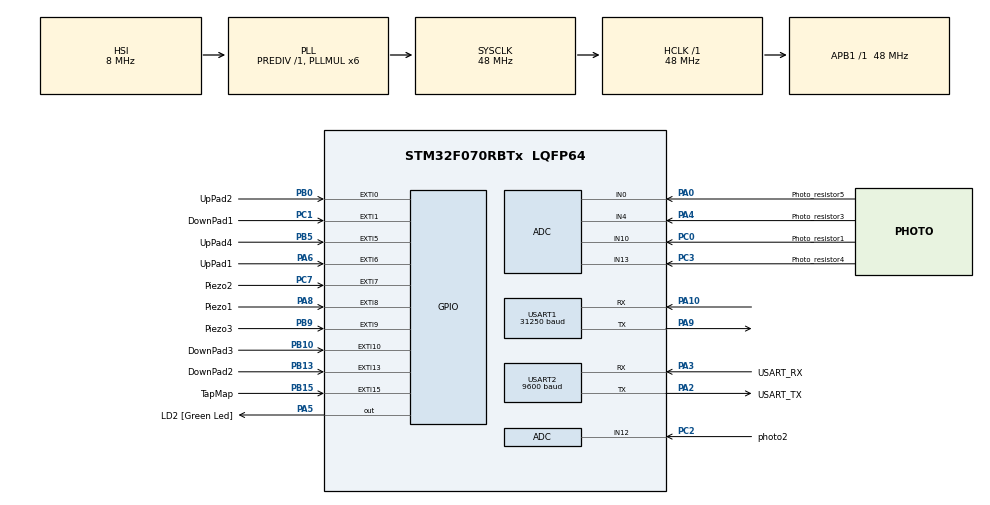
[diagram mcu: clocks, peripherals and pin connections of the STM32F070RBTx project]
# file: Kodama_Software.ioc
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ADC.ContinuousConvMode=DISABLE
ADC.DMAContinuousRequests=DISABLE
ADC.DiscontinuousConvMode=ENABLE
ADC.EOCSelection=ADC_EOC_SINGLE_CONV
ADC.SamplingTime=ADC_SAMPLETIME_239CYCLES_5
Dma.ADC.0.Direction=DMA_PERIPH_TO_MEMORY
Dma.ADC.0.Instance=DMA1_Channel1
Dma.ADC.0.MemDataAlignment=DMA_MDATAALIGN_WORD
Dma.ADC.0.MemInc=DMA_MINC_ENABLE
Dma.ADC.0.Mode=DMA_CIRCULAR
Dma.ADC.0.PeriphDataAlignment=DMA_PDATAALIGN_WORD
Dma.ADC.0.PeriphInc=DMA_PINC_DISABLE
Dma.ADC.0.Priority=DMA_PRIORITY_LOW
Dma.Request0=ADC
Mcu.Family=STM32F0
Mcu.Name=STM32F070RBTx
Mcu.Package=LQFP64
NVIC.DMA1_Channel1_IRQn=true\:0\:0\:false\:false\:true\:false\:true
NVIC.EXTI0_1_IRQn=true\:0\:0\:false\:false\:true\:true\:true
NVIC.EXTI4_15_IRQn=true\:1\:0\:true\:false\:true\:true\:true
NVIC.FLASH_IRQn=true\:0\:0\:false\:false\:true\:true\:true
NVIC.RCC_IRQn=true\:0\:0\:false\:false\:true\:true\:false
NVIC.TIM3_IRQn=true\:0\:0\:false\:false\:true\:true\:true
NVIC.USART2_IRQn=true\:0\:0\:false\:false\:true\:true\:true
PA0.GPIO_Label=Photo_resistor5
PA0.Mode=IN0
PA0.Signal=ADC_IN0
PA10.Mode=Asynchronous
PA10.Signal=USART1_RX
PA13.GPIO_Label=TMS
PA13.Mode=Serial_Wire
PA13.Signal=SYS_SWDIO
PA14.GPIO_Label=TCK
PA14.Mode=Serial_Wire
PA14.Signal=SYS_SWCLK
PA2.GPIO_Label=USART_TX
PA2.GPIO_ModeDefaultPP=GPIO_MODE_AF_PP
PA2.GPIO_PuPd=GPIO_NOPULL
PA2.Mode=Asynchronous
PA2.Signal=USART2_TX
PA3.GPIO_Label=USART_RX
PA3.GPIO_PuPd=GPIO_PULLDOWN
PA3.Mode=Asynchronous
PA3.Signal=USART2_RX
PA4.GPIO_Label=Photo_resistor3
PA4.Mode=IN4
PA4.Signal=ADC_IN4
PA5.GPIO_Label=LD2 [Green Led]
PA5.Signal=GPIO_Output
PA6.GPIO_Label=UpPad1
PA6.GPIO_ModeDefaultEXTI=GPIO_MODE_IT_RISING_FALLING
PA6.Signal=GPXTI6
PA8.GPIO_Label=Piezo1
PA8.GPIO_ModeDefaultEXTI=GPIO_MODE_IT_RISING_FALLING
PA8.Signal=GPXTI8
PA9.Mode=Asynchronous
PA9.Signal=USART1_TX
PB0.GPIO_Label=UpPad2
PB0.GPIO_ModeDefaultEXTI=GPIO_MODE_IT_RISING_FALLING
PB0.Signal=GPXTI0
PB10.GPIO_Label=DownPad3
PB10.GPIO_ModeDefaultEXTI=GPIO_MODE_IT_RISING_FALLING
PB10.Signal=GPXTI10
PB13.GPIO_Label=DownPad2
PB13.GPIO_ModeDefaultEXTI=GPIO_MODE_IT_RISING_FALLING
PB13.Signal=GPXTI13
PB15.GPIO_Label=TapMap
PB15.GPIO_ModeDefaultEXTI=GPIO_MODE_IT_RISING_FALLING
PB15.Signal=GPXTI15
PB5.GPIO_Label=UpPad4
PB5.Signal=GPXTI5
PB9.GPIO_Label=Piezo3
PB9.GPIO_ModeDefaultEXTI=GPIO_MODE_IT_RISING_FALLING
PB9.Signal=GPXTI9
PC0.GPIO_Label=Photo_resistor1
PC0.Mode=IN10
PC0.Signal=ADC_IN10
PC1.GPIO_Label=DownPad1
PC1.GPIO_ModeDefaultEXTI=GPIO_MODE_IT_RISING_FALLING
PC1.Signal=GPXTI1
PC14-OSC32_IN.GPIO_Label=RCC_OSC32_IN
PC14-OSC32_IN.Mode=LSE-External-Oscillator
PC14-OSC32_IN.Signal=RCC_OSC32_IN
PC15-OSC32_OUT.GPIO_Label=RCC_OSC32_OUT
PC15-OSC32_OUT.Mode=LSE-External-Oscillator
PC15-OSC32_OUT.Signal=RCC_OSC32_OUT
PC2.GPIO_Label=photo2
PC2.Mode=IN12
PC2.Signal=ADC_IN12
PC3.GPIO_Label=Photo_resistor4
PC3.Mode=IN13
PC3.Signal=ADC_IN13
PC7.GPIO_Label=Piezo2
PC7.GPIO_ModeDefaultEXTI=GPIO_MODE_IT_RISING_FALLING
PC7.Signal=GPXTI7
PF0-OSC_IN.GPIO_Label=RCC_OSC_IN
PF0-OSC_IN.Mode=HSE-External-Clock-Source
PF0-OSC_IN.Signal=RCC_OSC_IN
PF1-OSC_OUT.GPIO_Label=RCC_OSC_OUT
PF1-OSC_OUT.Signal=RCC_OSC_OUT
ProjectManager.HeapSize=0x200
ProjectManager.StackSize=0x400
ProjectManager.TargetToolchain=STM32CubeIDE
RCC.AHBFreq_Value=48000000
RCC.APB1Freq_Value=48000000
RCC.APB1TimFreq_Value=48000000
RCC.HCLKFreq_Value=48000000
RCC.PLLMUL=RCC_PLL_MUL6
RCC.SYSCLKFreq_VALUE=48000000
RCC.SYSCLKSource=RCC_SYSCLKSOURCE_PLLCLK
TIM3.Period=65535
TIM3.Prescaler=100
USART1.BaudRate=31250
USART1.VirtualMode-Asynchronous=VM_ASYNC
USART2.BaudRate=9600
USART2.Mode=MODE_TX
USART2.VirtualMode-Asynchronous=VM_ASYNC
USART2.WordLength=WORDLENGTH_8B
VP_TIM3_VS_ClockSourceINT.Mode=Internal
board=NUCLEO-F070RB

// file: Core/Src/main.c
/* USER CODE BEGIN Header */
/**
  ******************************************************************************
  * @file           : main.c
  * @brief          : Main program body
  ******************************************************************************
  * @attention
  *
  * <h2><center>&copy; Copyright (c) 2021 STMicroelectronics.
  * All rights reserved.</center></h2>
  *
  * This software component is licensed by ST under BSD 3-Clause license,
  * the "License"; You may not use this file except in compliance with the
  * License. You may obtain a copy of the License at:
  *                        opensource.org/licenses/BSD-3-Clause
  *
  ******************************************************************************
  */
/* USER CODE END Header */
#include "main.h"

/* USER CODE BEGIN Includes */
#include <stdbool.h>
/* USER CODE END Includes */

ADC_HandleTypeDef hadc;
DMA_HandleTypeDef hdma_adc;

TIM_HandleTypeDef htim3;

UART_HandleTypeDef huart1;
UART_HandleTypeDef huart2;

/* USER CODE BEGIN PV */

uint8_t aTxBuffer[3];
uint8_t CC1Value = 60;
uint8_t nbTest = 0;
uint8_t CC2Value = 60;
uint8_t CC3Value = 60;
uint8_t CC4Value = 60;
uint8_t VideoSelector = 0;
uint32_t value[5];
bool UpPad1_state = false;
bool UpPad2_state = false;
bool UpPad3_state = false;
bool UpPad4_state = false;
bool DownPad1_state = false;
bool DownPad2_state = false;
bool DownPad3_state = false;
bool DownPad4_state = false;
bool Piezo1_state = false;
bool Piezo2_state = false;
bool Piezo3_state = false;
bool Note3_state = false;
bool Play1 = false;
bool Play2 = false;
bool Play3 = false;
bool Play4 = false;
bool Play5 = false;
bool initPassed = false;
int lum1average = 0;
int lum2average = 0;
int lum3average = 0;
int lum4average = 0;
int lum5average = 0;
int Lum1threshold = 0;
int Lum2threshold = 0;
int Lum3threshold = 0;
int Lum4threshold = 0;
int Lum5threshold = 0;

/* USER CODE END PV */

void SystemClock_Config(void);
static void MX_GPIO_Init(void);
static void MX_USART2_UART_Init(void);
static void MX_USART1_UART_Init(void);
static void MX_ADC_Init(void);
static void MX_DMA_Init(void);
static void MX_TIM3_Init(void);
/* USER CODE BEGIN PFP */
void EXTI4_15_IRQHandler_Config(void);
void GET_ADC_Value(void);
void ADC_Test(void);
void ADC_Select_CH11 (void);
void ADC_Select_CH10 (void);
void ADC_Select_CH4 (void);
void ADC_Select_CH12 (void);
void ADC_Select_CH13 (void);
void CallibrationPhoto(ADC_HandleTypeDef* hadc);
void PhotoProcess(ADC_HandleTypeDef* hadc);

/* USER CODE END PFP */

int main(void)
{

  /* MCU Configuration--------------------------------------------------------*/

  /* Reset of all peripherals, Initializes the Flash interface and the Systick. */
  HAL_Init();

  /* Configure the system clock */
  SystemClock_Config();

  /* Initialize all configured peripherals */
  MX_GPIO_Init();
  MX_USART2_UART_Init();
  MX_USART1_UART_Init();
  MX_ADC_Init();
  MX_DMA_Init();
  MX_TIM3_Init();
  /* USER CODE BEGIN 2 */
  HAL_Delay(1000);
  HAL_ADCEx_Calibration_Start(&hadc);
  HAL_TIM_Base_Start_IT(&htim3);
  //HAL_ADC_Start_DMA(&hadc, value, 3);
  //srv_iqs5xx_init();

  /* USER CODE END 2 */

  /* Infinite loop */
  while (1)
  {

    /* USER CODE BEGIN 3 */
//	  HAL_Delay(1000);
//	  srv_midi_internal_sendNote(0x3C, 0x00, 0x5A,huart1);
//	  HAL_Delay(200);
//	  srv_midi_internal_sendNote(0x3C, 0x00, 0x00,huart1);

  }
  /* USER CODE END 3 */
}

void SystemClock_Config(void)
{
  RCC_OscInitTypeDef RCC_OscInitStruct = {0};
  RCC_ClkInitTypeDef RCC_ClkInitStruct = {0};
  RCC_PeriphCLKInitTypeDef PeriphClkInit = {0};

  /** Initializes the RCC Oscillators according to the specified parameters
  * in the RCC_OscInitTypeDef structure.
  */
  RCC_OscInitStruct.OscillatorType = RCC_OSCILLATORTYPE_HSI|RCC_OSCILLATORTYPE_HSI14;
  RCC_OscInitStruct.HSIState = RCC_HSI_ON;
  RCC_OscInitStruct.HSI14State = RCC_HSI14_ON;
  RCC_OscInitStruct.HSICalibrationValue = RCC_HSICALIBRATION_DEFAULT;
  RCC_OscInitStruct.HSI14CalibrationValue = 16;
  RCC_OscInitStruct.PLL.PLLState = RCC_PLL_ON;
  RCC_OscInitStruct.PLL.PLLSource = RCC_PLLSOURCE_HSI;
  RCC_OscInitStruct.PLL.PLLMUL = RCC_PLL_MUL6;
  RCC_OscInitStruct.PLL.PREDIV = RCC_PREDIV_DIV1;
  if (HAL_RCC_OscConfig(&RCC_OscInitStruct) != HAL_OK)
  {
    Error_Handler();
  }
  /** Initializes the CPU, AHB and APB buses clocks
  */
  RCC_ClkInitStruct.ClockType = RCC_CLOCKTYPE_HCLK|RCC_CLOCKTYPE_SYSCLK
                              |RCC_CLOCKTYPE_PCLK1;
  RCC_ClkInitStruct.SYSCLKSource = RCC_SYSCLKSOURCE_PLLCLK;
  RCC_ClkInitStruct.AHBCLKDivider = RCC_SYSCLK_DIV1;
  RCC_ClkInitStruct.APB1CLKDivider = RCC_HCLK_DIV1;

  if (HAL_RCC_ClockConfig(&RCC_ClkInitStruct, FLASH_LATENCY_1) != HAL_OK)
  {
    Error_Handler();
  }
  PeriphClkInit.PeriphClockSelection = RCC_PERIPHCLK_USART1;
  PeriphClkInit.Usart1ClockSelection = RCC_USART1CLKSOURCE_PCLK1;
  if (HAL_RCCEx_PeriphCLKConfig(&PeriphClkInit) != HAL_OK)
  {
    Error_Handler();
  }
}

static void MX_ADC_Init(void)
{

  ADC_ChannelConfTypeDef sConfig = {0};

  /** Configure the global features of the ADC (Clock, Resolution, Data Alignment and number of conversion)
  */
  hadc.Instance = ADC1;
  hadc.Init.ClockPrescaler = ADC_CLOCK_ASYNC_DIV1;
  hadc.Init.Resolution = ADC_RESOLUTION_12B;
  hadc.Init.DataAlign = ADC_DATAALIGN_RIGHT;
  hadc.Init.ScanConvMode = ADC_SCAN_DIRECTION_FORWARD;
  hadc.Init.EOCSelection = ADC_EOC_SINGLE_CONV;
  hadc.Init.LowPowerAutoWait = DISABLE;
  hadc.Init.LowPowerAutoPowerOff = DISABLE;
  hadc.Init.ContinuousConvMode = DISABLE;
  hadc.Init.DiscontinuousConvMode = ENABLE;
  hadc.Init.ExternalTrigConv = ADC_SOFTWARE_START;
  hadc.Init.ExternalTrigConvEdge = ADC_EXTERNALTRIGCONVEDGE_NONE;
  hadc.Init.DMAContinuousRequests = DISABLE;
  hadc.Init.Overrun = ADC_OVR_DATA_PRESERVED;
  if (HAL_ADC_Init(&hadc) != HAL_OK)
  {
    Error_Handler();
  }
  /** Configure for the selected ADC regular channel to be converted.
  */
  sConfig.Channel = ADC_CHANNEL_0;
  sConfig.Rank = ADC_RANK_CHANNEL_NUMBER;
  sConfig.SamplingTime = ADC_SAMPLETIME_239CYCLES_5;
  if (HAL_ADC_ConfigChannel(&hadc, &sConfig) != HAL_OK)
  {
    Error_Handler();
  }
  /** Configure for the selected ADC regular channel to be converted.
  */
  sConfig.Channel = ADC_CHANNEL_4;
  if (HAL_ADC_ConfigChannel(&hadc, &sConfig) != HAL_OK)
  {
    Error_Handler();
  }
  /** Configure for the selected ADC regular channel to be converted.
  */
  sConfig.Channel = ADC_CHANNEL_10;
  if (HAL_ADC_ConfigChannel(&hadc, &sConfig) != HAL_OK)
  {
    Error_Handler();
  }
  /** Configure for the selected ADC regular channel to be converted.
  */
  sConfig.Channel = ADC_CHANNEL_12;
  if (HAL_ADC_ConfigChannel(&hadc, &sConfig) != HAL_OK)
  {
    Error_Handler();
  }
  /** Configure for the selected ADC regular channel to be converted.
  */
  sConfig.Channel = ADC_CHANNEL_13;
  if (HAL_ADC_ConfigChannel(&hadc, &sConfig) != HAL_OK)
  {
    Error_Handler();
  }
  /* USER CODE BEGIN ADC_Init 2 */
//
//  /** Configure for the selected ADC regular channel to be converted.
//    */
//    sConfig.Channel = ADC_CHANNEL_10;
//    sConfig.Rank = 2;
//    sConfig.SamplingTime = ADC_SAMPLETIME_1CYCLE_5;
//    if (HAL_ADC_ConfigChannel(&hadc, &sConfig) != HAL_OK)
//    {
//      Error_Handler();
//    }
//	/** Configure for the selected ADC regular channel to be converted.
//	  */
//  sConfig.Channel = ADC_CHANNEL_4;
//  sConfig.Rank = 1;
//  sConfig.SamplingTime = ADC_SAMPLETIME_1CYCLE_5;
//  if (HAL_ADC_ConfigChannel(&hadc, &sConfig) != HAL_OK)
//  {
//	Error_Handler();
//  }
//    /** Configure for the selected ADC regular channel to be converted.
//    */
//    sConfig.Channel = ADC_CHANNEL_11;
//    sConfig.Rank = 2;
//    sConfig.SamplingTime = ADC_SAMPLETIME_1CYCLE_5;
//    if (HAL_ADC_ConfigChannel(&hadc, &sConfig) != HAL_OK)
//    {
//      Error_Handler();
//    }
//    /** Configure for the selected ADC regular channel to be converted.
//    */
//    sConfig.Channel = ADC_CHANNEL_4;
//    sConfig.Rank = 3;
//    sConfig.SamplingTime = ADC_SAMPLETIME_1CYCLE_5;
//    if (HAL_ADC_ConfigChannel(&hadc, &sConfig) != HAL_OK)
//    {
//      Error_Handler();
//    }
//    /** Configure for the selected ADC regular channel to be converted.
//        */
//	sConfig.Channel = ADC_CHANNEL_0;
//	sConfig.Rank = 4;
//	sConfig.SamplingTime = ADC_SAMPLETIME_1CYCLE_5;
//	if (HAL_ADC_ConfigChannel(&hadc, &sConfig) != HAL_OK)
//	{
//	  Error_Handler();
//	}
    /** Configure for the selected ADC regular channel to be converted.
    */
//    sConfig.Channel = ADC_CHANNEL_13;
//    sConfig.Rank = 4;
//    sConfig.SamplingTime = ADC_SAMPLETIME_1CYCLE_5;
//    if (HAL_ADC_ConfigChannel(&hadc, &sConfig) != HAL_OK)
//    {
//      Error_Handler();
//    }

  /* USER CODE END ADC_Init 2 */

}

static void MX_TIM3_Init(void)
{

  TIM_ClockConfigTypeDef sClockSourceConfig = {0};
  TIM_MasterConfigTypeDef sMasterConfig = {0};

  htim3.Instance = TIM3;
  htim3.Init.Prescaler = 100;
  htim3.Init.CounterMode = TIM_COUNTERMODE_UP;
  htim3.Init.Period = 65535;
  htim3.Init.ClockDivision = TIM_CLOCKDIVISION_DIV1;
  htim3.Init.AutoReloadPreload = TIM_AUTORELOAD_PRELOAD_DISABLE;
  if (HAL_TIM_Base_Init(&htim3) != HAL_OK)
  {
    Error_Handler();
  }
  sClockSourceConfig.ClockSource = TIM_CLOCKSOURCE_INTERNAL;
  if (HAL_TIM_ConfigClockSource(&htim3, &sClockSourceConfig) != HAL_OK)
  {
    Error_Handler();
  }
  sMasterConfig.MasterOutputTrigger = TIM_TRGO_RESET;
  sMasterConfig.MasterSlaveMode = TIM_MASTERSLAVEMODE_DISABLE;
  if (HAL_TIMEx_MasterConfigSynchronization(&htim3, &sMasterConfig) != HAL_OK)
  {
    Error_Handler();
  }

}

static void MX_USART1_UART_Init(void)
{

  huart1.Instance = USART1;
  huart1.Init.BaudRate = 31250;
  huart1.Init.WordLength = UART_WORDLENGTH_8B;
  huart1.Init.StopBits = UART_STOPBITS_1;
  huart1.Init.Parity = UART_PARITY_NONE;
  huart1.Init.Mode = UART_MODE_TX_RX;
  huart1.Init.HwFlowCtl = UART_HWCONTROL_NONE;
  huart1.Init.OverSampling = UART_OVERSAMPLING_16;
  huart1.Init.OneBitSampling = UART_ONE_BIT_SAMPLE_DISABLE;
  huart1.AdvancedInit.AdvFeatureInit = UART_ADVFEATURE_NO_INIT;
  if (HAL_UART_Init(&huart1) != HAL_OK)
  {
    Error_Handler();
  }

}

static void MX_USART2_UART_Init(void)
{

  huart2.Instance = USART2;
  huart2.Init.BaudRate = 9600;
  huart2.Init.WordLength = UART_WORDLENGTH_8B;
  huart2.Init.StopBits = UART_STOPBITS_1;
  huart2.Init.Parity = UART_PARITY_NONE;
  huart2.Init.Mode = UART_MODE_TX;
  huart2.Init.HwFlowCtl = UART_HWCONTROL_NONE;
  huart2.Init.OverSampling = UART_OVERSAMPLING_16;
  huart2.Init.OneBitSampling = UART_ONE_BIT_SAMPLE_DISABLE;
  huart2.AdvancedInit.AdvFeatureInit = UART_ADVFEATURE_NO_INIT;
  if (HAL_UART_Init(&huart2) != HAL_OK)
  {
    Error_Handler();
  }

}

static void MX_DMA_Init(void)
{

  /* DMA controller clock enable */
  __HAL_RCC_DMA1_CLK_ENABLE();

  /* DMA interrupt init */
  /* DMA1_Channel1_IRQn interrupt configuration */
  HAL_NVIC_SetPriority(DMA1_Channel1_IRQn, 0, 0);
  HAL_NVIC_EnableIRQ(DMA1_Channel1_IRQn);

}

static void MX_GPIO_Init(void)
{
  GPIO_InitTypeDef GPIO_InitStruct = {0};

  /* GPIO Ports Clock Enable */
  __HAL_RCC_GPIOC_CLK_ENABLE();
  __HAL_RCC_GPIOF_CLK_ENABLE();
  __HAL_RCC_GPIOA_CLK_ENABLE();
  __HAL_RCC_GPIOB_CLK_ENABLE();

  /*Configure GPIO pin Output Level */
  HAL_GPIO_WritePin(LD2_GPIO_Port, LD2_Pin, GPIO_PIN_RESET);

  /*Configure GPIO pins : DownPad1_Pin Piezo2_Pin */
  GPIO_InitStruct.Pin = DownPad1_Pin|Piezo2_Pin;
  GPIO_InitStruct.Mode = GPIO_MODE_IT_RISING_FALLING;
  GPIO_InitStruct.Pull = GPIO_NOPULL;
  HAL_GPIO_Init(GPIOC, &GPIO_InitStruct);

  /*Configure GPIO pin : LD2_Pin */
  GPIO_InitStruct.Pin = LD2_Pin;
  GPIO_InitStruct.Mode = GPIO_MODE_OUTPUT_PP;
  GPIO_InitStruct.Pull = GPIO_NOPULL;
  GPIO_InitStruct.Speed = GPIO_SPEED_FREQ_LOW;
  HAL_GPIO_Init(LD2_GPIO_Port, &GPIO_InitStruct);

  /*Configure GPIO pins : UpPad1_Pin Piezo1_Pin */
  GPIO_InitStruct.Pin = UpPad1_Pin|Piezo1_Pin;
  GPIO_InitStruct.Mode = GPIO_MODE_IT_RISING_FALLING;
  GPIO_InitStruct.Pull = GPIO_NOPULL;
  HAL_GPIO_Init(GPIOA, &GPIO_InitStruct);

  /*Configure GPIO pins : UpPad2_Pin DownPad3_Pin DownPad2_Pin TapMap_Pin
                           Piezo3_Pin */
  GPIO_InitStruct.Pin = UpPad2_Pin|DownPad3_Pin|DownPad2_Pin|TapMap_Pin
                          |Piezo3_Pin;
  GPIO_InitStruct.Mode = GPIO_MODE_IT_RISING_FALLING;
  GPIO_InitStruct.Pull = GPIO_NOPULL;
  HAL_GPIO_Init(GPIOB, &GPIO_InitStruct);

  /*Configure GPIO pin : UpPad4_Pin */
  GPIO_InitStruct.Pin = UpPad4_Pin;
  GPIO_InitStruct.Mode = GPIO_MODE_IT_RISING;
  GPIO_InitStruct.Pull = GPIO_NOPULL;
  HAL_GPIO_Init(UpPad4_GPIO_Port, &GPIO_InitStruct);

  /* EXTI interrupt init*/
  HAL_NVIC_SetPriority(EXTI0_1_IRQn, 0, 0);
  HAL_NVIC_EnableIRQ(EXTI0_1_IRQn);

  HAL_NVIC_SetPriority(EXTI4_15_IRQn, 1, 0);
  HAL_NVIC_EnableIRQ(EXTI4_15_IRQn);

}

/* USER CODE BEGIN 4 */

void HAL_GPIO_EXTI_Callback(uint16_t GPIO_Pin)
{
	switch (GPIO_Pin) {

		case UpPad1_Pin:
			if (HAL_GPIO_ReadPin(UpPad1_GPIO_Port, UpPad1_Pin)== GPIO_PIN_SET && UpPad1_state != true){
				if (CC1Value<126){
					CC1Value +=3;
				}
				srv_midi_internal_controlChange(4, CC1Value, huart1);
				UpPad1_state = true;
				}
			else if (HAL_GPIO_ReadPin(UpPad1_GPIO_Port, UpPad1_Pin)== GPIO_PIN_RESET && UpPad1_state != false) {
				UpPad1_state = false;
			}
			break;

		case UpPad2_Pin:
					if (HAL_GPIO_ReadPin(UpPad2_GPIO_Port, UpPad2_Pin)== GPIO_PIN_SET && UpPad2_state != true){
						CC2Value +=3;
						srv_midi_internal_controlChange(5, CC2Value, huart1);
						UpPad2_state = true;
						}
					else if (HAL_GPIO_ReadPin(UpPad2_GPIO_Port, UpPad2_Pin)== GPIO_PIN_RESET && UpPad2_state != false) {
						UpPad2_state = false;
					}
					break;

//		case UpPad3_Pin:
//							if (HAL_GPIO_ReadPin(UpPad3_GPIO_Port, UpPad3_Pin)== GPIO_PIN_SET && UpPad3_state != true){
//								CC3Value ++;
//								srv_midi_internal_controlChange(6, CC3Value, huart1);
//								UpPad3_state = true;
//								}
//							else if (HAL_GPIO_ReadPin(UpPad3_GPIO_Port, UpPad3_Pin)== GPIO_PIN_RESET && UpPad3_state != false) {
//								UpPad3_state = false;
//							}
//							break;

		case TapMap_Pin:
			if (HAL_GPIO_ReadPin(TapMap_GPIO_Port, TapMap_Pin)== GPIO_PIN_SET && UpPad4_state != true){
				srv_midi_internal_sendNote(VideoSelector, 3, 60, huart1);
				UpPad4_state = true;
				}
			else if (HAL_GPIO_ReadPin(TapMap_GPIO_Port, TapMap_Pin)== GPIO_PIN_RESET && UpPad4_state != false) {
				UpPad4_state = false;

				if (VideoSelector<3){
					srv_midi_internal_sendNote(VideoSelector, 3, 0, huart1);
					VideoSelector++;
				}
				else {
					srv_midi_internal_sendNote(VideoSelector, 3, 0, huart1);
					VideoSelector=0;
				}
			}
			break;

		case DownPad1_Pin:
			if (HAL_GPIO_ReadPin(DownPad1_GPIO_Port, DownPad1_Pin)== GPIO_PIN_SET && DownPad1_state != true){
				if (CC1Value>0){
					CC1Value -=3;
				}
				srv_midi_internal_controlChange(4, CC1Value, huart1);
				DownPad1_state = true;
				}
			else if (HAL_GPIO_ReadPin(DownPad1_GPIO_Port, DownPad1_Pin)== GPIO_PIN_RESET && DownPad1_state != false) {
				DownPad1_state = false;
			}
			break;
//
		case DownPad2_Pin:
					if (HAL_GPIO_ReadPin(DownPad2_GPIO_Port, DownPad2_Pin)== GPIO_PIN_SET && DownPad2_state != true){
						CC2Value -=3;
						srv_midi_internal_controlChange(5, CC2Value, huart1);
						DownPad2_state = true;
						}
					else if (HAL_GPIO_ReadPin(DownPad2_GPIO_Port, DownPad2_Pin)== GPIO_PIN_RESET && DownPad2_state != false) {
						DownPad2_state = false;
					}
					break;

//		case DownPad3_Pin:
//							if (HAL_GPIO_ReadPin(DownPad3_GPIO_Port, DownPad3_Pin)== GPIO_PIN_SET && DownPad3_state != true){
//								CC3Value --;
//								srv_midi_internal_controlChange(6, CC3Value, huart1);
//								DownPad3_state = true;
//								}
//							else if (HAL_GPIO_ReadPin(DownPad3_GPIO_Port, DownPad3_Pin)== GPIO_PIN_RESET && DownPad3_state != false) {
//								DownPad3_state = false;
//							}
//							break;

//		case DownPad4_Pin:
//									if (HAL_GPIO_ReadPin(DownPad4_GPIO_Port, DownPad4_Pin)== GPIO_PIN_SET && DownPad4_state != true){
//										if (VideoSelector>19){
//											VideoSelector--;
//											srv_midi_internal_sendNote(VideoSelector, 3, 60, huart1);
//										}
//										DownPad3_state = true;
//										}
//									else if (HAL_GPIO_ReadPin(DownPad3_GPIO_Port, DownPad3_Pin)== GPIO_PIN_RESET && DownPad3_state != false) {
//										DownPad3_state = false;
//										srv_midi_internal_sendNote(VideoSelector, 3, 0, huart1);
//									}
//									break;

		case Piezo1_Pin:
											if (HAL_GPIO_ReadPin(Piezo1_GPIO_Port, Piezo1_Pin)== GPIO_PIN_RESET && Piezo1_state != true){
												srv_midi_internal_sendNote(60, 2, 60, huart1);
												Piezo1_state = true;
												}
											else if (HAL_GPIO_ReadPin(Piezo1_GPIO_Port, Piezo1_Pin)== GPIO_PIN_SET && Piezo1_state != false) {
												Piezo1_state = false;
												srv_midi_internal_sendNote(60, 2, 0, huart1);
											}
											break;
		case Piezo2_Pin:
											if (HAL_GPIO_ReadPin(Piezo2_GPIO_Port, Piezo2_Pin)== GPIO_PIN_RESET && Piezo2_state != true){
												srv_midi_internal_sendNote(63, 2, 60, huart1);
												Piezo2_state = true;
												}
											else if (HAL_GPIO_ReadPin(Piezo2_GPIO_Port, Piezo2_Pin)== GPIO_PIN_SET && Piezo2_state != false) {
												Piezo2_state = false;
												srv_midi_internal_sendNote(63, 2, 0, huart1);
											}
											break;

		case Piezo3_Pin:
											if (HAL_GPIO_ReadPin(Piezo3_GPIO_Port, Piezo3_Pin)== GPIO_PIN_RESET && Piezo3_state != true){
												srv_midi_internal_sendNote(67, 2, 60, huart1);
												Piezo3_state = true;
												}
											else if (HAL_GPIO_ReadPin(Piezo3_GPIO_Port, Piezo3_Pin)== GPIO_PIN_SET && Piezo3_state != false) {
												Piezo3_state = false;
												srv_midi_internal_sendNote(67, 2, 0, huart1);
											}
											break;

//		case RDY_PIN_Pin: if (HAL_GPIO_ReadPin(RDY_PIN_GPIO_Port, RDY_PIN_Pin)== GPIO_PIN_RESET){
//			srv_iqs5xx_callback();
//		}
		default:
			break;
	}

}

void HAL_TIM_PeriodElapsedCallback(TIM_HandleTypeDef *htim)
{
  /* Prevent unused argument(s) compilation warning */
  UNUSED(htim);

  /* NOTE : This function should not be modified, when the callback is needed,
            the HAL_TIM_PeriodElapsedCallback could be implemented in the user file
   */
 //Non blocking delay for getting ADC value every x ms
  //ADC_Select_CH10();
  //GET_ADC_Value();
  if (initPassed == false){
	  ADC_Test();
	  CallibrationPhoto(&hadc);

	}
	else {
		ADC_Test();
		PhotoProcess(&hadc);
	}
  HAL_TIM_Base_Stop_IT(&htim3);
  HAL_TIM_Base_Start_IT(&htim3);

}

void HAL_ADC_ConvCpltCallback(ADC_HandleTypeDef* hadc) //Callback when ADC got a value
{

    // Read & Update The ADC Result
	//HAL_Delay(1000);
		if (initPassed == false){
			//CallibrationPhoto(hadc);
			//ADC_Test();
		}
		else {
			//PhotoProcess(hadc);
		}

}

void ADC_Test(void){
	for (int i = 0; i<3; i++){
		HAL_ADC_Start(&hadc);
		HAL_ADC_PollForConversion(&hadc, HAL_MAX_DELAY);
		value[0]=value[0]+HAL_ADC_GetValue(&hadc);
		HAL_ADC_Start(&hadc);
		HAL_ADC_PollForConversion(&hadc, HAL_MAX_DELAY);
		value[1]=value[1]+HAL_ADC_GetValue(&hadc);
		HAL_ADC_Start(&hadc);
		HAL_ADC_PollForConversion(&hadc, HAL_MAX_DELAY);
		value[2]=value[2]+HAL_ADC_GetValue(&hadc);
		HAL_ADC_Start(&hadc);
		HAL_ADC_PollForConversion(&hadc, HAL_MAX_DELAY);
		value[3]=value[3]+HAL_ADC_GetValue(&hadc);
		HAL_ADC_Start(&hadc);
		HAL_ADC_PollForConversion(&hadc, HAL_MAX_DELAY);
		value[4]=value[4]+HAL_ADC_GetValue(&hadc);
	}

	value[0]=value[0]/3;
	value[1]=value[1]/3;
	value[2]=value[2]/3;
	value[3]=value[3]/3;
	value[4]=value[4]/3;
//	HAL_ADC_Start(&hadc);
//	HAL_ADC_PollForConversion(&hadc, HAL_MAX_DELAY);
//	value[4]=HAL_ADC_GetValue(&hadc);

//	value[0]=0;
//	value[1]=0;
//	value[2]=0;
//	uint32_t one = 0;
//	uint32_t two = 0;
//	uint32_t three = 0;
	//HAL_ADC_Start_DMA(&hadc, value, 3);
//	one = value[0];s
//	two = value[1];
//	three = value[2];
}

void CallibrationPhoto(ADC_HandleTypeDef* hadc){
	if(nbTest<4){

		if (nbTest !=0){lum1average = value[0] + lum1average;}
		//ADC_Select_CH11();
		//HAL_Delay(DELAYUPDATEPHOTO);
		if (nbTest != 0){lum2average = value[1] + lum2average;}
		//HAL_ADC_Stop(hadc);
		if (nbTest != 0){lum3average = value[2] + lum3average;}

		if (nbTest != 0){lum4average = value[3] + lum4average;}
//
		if (nbTest != 0){lum5average = value[4] + lum5average;}

		nbTest++;
	}
	else {
		Lum1threshold = lum1average/10 - 100;
		Lum2threshold = lum2average/10 - 100;
		Lum3threshold = lum3average/10 - 100;
		Lum4threshold = lum4average/10 - 100;
		Lum5threshold = lum5average/10 - 100;
		initPassed = true;
	}
}

void PhotoProcess(ADC_HandleTypeDef* hadc){

	if (value[0] < Lum1threshold && Play1 !=true){
		srv_midi_internal_sendNote(PLAY1_NOTE, 7, 50, huart1);
		Play1 = true;
	}
	else if (value[0] >= Lum1threshold && Play1 == true) {
		Play1 = false;
		srv_midi_internal_sendNote(PLAY1_NOTE, 7, 0, huart1);
	}

	if (value[1] < Lum2threshold && Play2 !=true){
		srv_midi_internal_sendNote(PLAY2_NOTE, 7, 50, huart1);
		Play2 = true;
	}
	else if (value[1] >= Lum2threshold && Play2 == true) {
		Play2 = false;
		srv_midi_internal_sendNote(PLAY2_NOTE, 7, 0, huart1);
	}

	if (value[2] < Lum3threshold && Play3 !=true){
		srv_midi_internal_sendNote(PLAY3_NOTE, 7, 50, huart1);
		Play3 = true;
	}
	else if (value[2] >= Lum3threshold && Play3 == true) {
		Play3 = false;
		srv_midi_internal_sendNote(PLAY3_NOTE, 7, 0, huart1);
	}

	if (value[3] < Lum4threshold && Play4 !=true){
		srv_midi_internal_sendNote(PLAY4_NOTE, 7, 50, huart1);
		Play4 = true;
	}
	else if (value[3] >= Lum4threshold && Play4 == true) {
		Play4 = false;
		srv_midi_internal_sendNote(PLAY4_NOTE, 7, 0, huart1);
	}

	if (value[4] < Lum5threshold && Play5 !=true){
		srv_midi_internal_sendNote(PLAY5_NOTE, 7, 50, huart1);
		Play5 = true;
	}
	else if (value[4] >= Lum5threshold && Play5 == true) {
		Play5 = false;
		srv_midi_internal_sendNote(PLAY5_NOTE, 7, 0, huart1);
	}

			//ADC_Select_CH13();
			//HAL_ADC_Start(hadc);
//			HAL_ADC_PollForConversion(hadc, HAL_MAX_DELAY);
//			uint16_t LumValue_4 = HAL_ADC_GetValue(hadc);
//			if (LumValue_4 < Lum3threshold && Play4 !=true){
//				srv_midi_internal_sendNote(PLAY4_NOTE, 7, 50, huart1);
//				Play4 = true;
//			}
//			else if (LumValue_4 >= Lum3threshold && Play4 == true) {
//				Play4 = false;
//				srv_midi_internal_sendNote(PLAY4_NOTE, 7, 0, huart1);
//			}
//			HAL_ADC_Stop(hadc);
//
//			ADC_Select_CH0();
//			HAL_ADC_Start(hadc);
//			HAL_ADC_PollForConversion(hadc, HAL_MAX_DELAY);
//			uint16_t LumValue_5 = HAL_ADC_GetValue(hadc);
//			if (LumValue_5 < Lum3threshold && Play5 !=true){
//				srv_midi_internal_sendNote(PLAY5_NOTE, 7, 50, huart1);
//				Play5 = true;
//			}
//			else if (LumValue_5 >= Lum3threshold && Play5 == true) {
//				Play5 = false;
//				srv_midi_internal_sendNote(PLAY5_NOTE, 7, 0, huart1);
//			}

}

void ADC_Select_CH11 (void)
{
	ADC_ChannelConfTypeDef sConfig = {0};
	  /** Configure for the selected ADC regular channel its corresponding rank in the sequencer and its sample time.
	  */
	sConfig.Channel = ADC_CHANNEL_11;
	sConfig.Rank = 1;
	sConfig.SamplingTime = ADC_SAMPLETIME_55CYCLES_5;
	if (HAL_ADC_ConfigChannel(&hadc, &sConfig) != HAL_OK)
	{
	  Error_Handler();
	}
}

void ADC_Select_CH10 (void)
{
	ADC_ChannelConfTypeDef sConfig = {0};
	  /** Configure for the selected ADC regular channel its corresponding rank in the sequencer and its sample time.
	  */
    sConfig.Channel = ADC_CHANNEL_10;
    sConfig.Rank = 1;
    sConfig.SamplingTime = ADC_SAMPLETIME_55CYCLES_5;
    if (HAL_ADC_ConfigChannel(&hadc, &sConfig) != HAL_OK)
    {
      Error_Handler();
    }
}

void ADC_Select_CH12 (void)
{
	ADC_ChannelConfTypeDef sConfig = {0};
	  /** Configure for the selected ADC regular channel its corresponding rank in the sequencer and its sample time.
	  */
	  sConfig.Channel = ADC_CHANNEL_12;
	  if (HAL_ADC_ConfigChannel(&hadc, &sConfig) != HAL_OK)
	  {
	    Error_Handler();
	  }
}

void ADC_Select_CH13 (void)
{
	ADC_ChannelConfTypeDef sConfig = {0};
	  /** Configure for the selected ADC regular channel its corresponding rank in the sequencer and its sample time.
	  */
	  sConfig.Channel = ADC_CHANNEL_13;
	  if (HAL_ADC_ConfigChannel(&hadc, &sConfig) != HAL_OK)
	  {
	    Error_Handler();
	  }
}

void ADC_Select_CH4 (void)
{
	ADC_ChannelConfTypeDef sConfig = {0};
	  /** Configure for the selected ADC regular channel its corresponding rank in the sequencer and its sample time.
	  */
    sConfig.Channel = ADC_CHANNEL_4;
    sConfig.Rank = 1;
    sConfig.SamplingTime = ADC_SAMPLETIME_28CYCLES_5;
    if (HAL_ADC_ConfigChannel(&hadc, &sConfig) != HAL_OK)
    {
      Error_Handler();
    }
}

void GET_ADC_Value(void){ //Function to get all ADC values

	HAL_ADC_Start_IT(&hadc);
	}
/* USER CODE END 4 */

void Error_Handler(void)
{
  __disable_irq();
  while (1)
  {
  }
}

/************************ (C) COPYRIGHT STMicroelectronics *****END OF FILE****/
